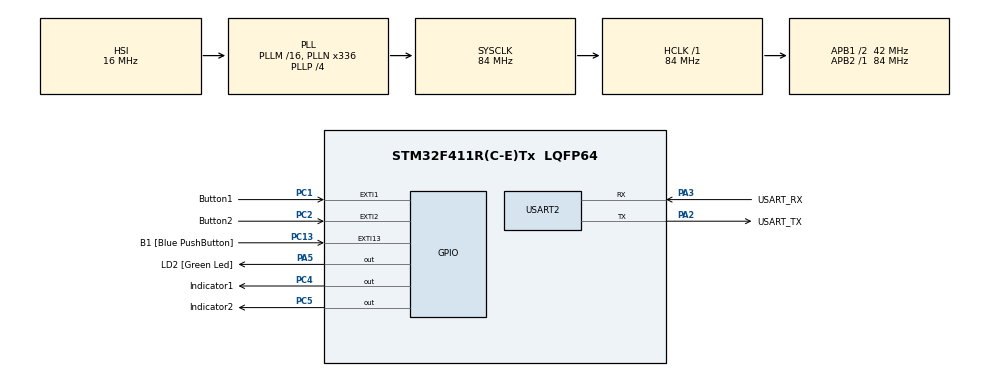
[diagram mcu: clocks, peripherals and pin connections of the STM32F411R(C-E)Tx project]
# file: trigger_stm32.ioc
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Dma.Request0=USART2_RX
Dma.USART2_RX.0.Direction=DMA_PERIPH_TO_MEMORY
Dma.USART2_RX.0.FIFOMode=DMA_FIFOMODE_DISABLE
Dma.USART2_RX.0.Instance=DMA1_Stream5
Dma.USART2_RX.0.MemDataAlignment=DMA_MDATAALIGN_BYTE
Dma.USART2_RX.0.MemInc=DMA_MINC_ENABLE
Dma.USART2_RX.0.Mode=DMA_CIRCULAR
Dma.USART2_RX.0.PeriphDataAlignment=DMA_PDATAALIGN_BYTE
Dma.USART2_RX.0.PeriphInc=DMA_PINC_DISABLE
Dma.USART2_RX.0.Priority=DMA_PRIORITY_LOW
Mcu.Family=STM32F4
Mcu.Name=STM32F411R(C-E)Tx
Mcu.Package=LQFP64
NVIC.DMA1_Stream5_IRQn=true\:0\:0\:false\:false\:true\:false\:true\:true
NVIC.EXTI1_IRQn=true\:0\:0\:false\:false\:true\:true\:true\:true
NVIC.EXTI2_IRQn=true\:0\:0\:false\:false\:true\:true\:true\:true
NVIC.PriorityGroup=NVIC_PRIORITYGROUP_0
NVIC.USART2_IRQn=true\:0\:0\:false\:false\:true\:true\:true\:true
PA13.GPIO_Label=TMS
PA13.Mode=Serial_Wire
PA13.Signal=SYS_JTMS-SWDIO
PA14.GPIO_Label=TCK
PA14.Mode=Serial_Wire
PA14.Signal=SYS_JTCK-SWCLK
PA2.GPIO_Label=USART_TX
PA2.Mode=Asynchronous
PA2.Signal=USART2_TX
PA3.GPIO_Label=USART_RX
PA3.Mode=Asynchronous
PA3.Signal=USART2_RX
PA5.GPIO_Label=LD2 [Green Led]
PA5.Signal=GPIO_Output
PB3.GPIO_Label=SWO
PB3.Signal=SYS_JTDO-SWO
PC1.GPIO_Label=Button1
PC1.GPIO_ModeDefaultEXTI=GPIO_MODE_IT_FALLING
PC1.Signal=GPXTI1
PC13-ANTI_TAMP.GPIO_Label=B1 [Blue PushButton]
PC13-ANTI_TAMP.GPIO_ModeDefaultEXTI=GPIO_MODE_IT_FALLING
PC13-ANTI_TAMP.Signal=GPXTI13
PC14-OSC32_IN.Mode=LSE-External-Oscillator
PC14-OSC32_IN.Signal=RCC_OSC32_IN
PC15-OSC32_OUT.Mode=LSE-External-Oscillator
PC15-OSC32_OUT.Signal=RCC_OSC32_OUT
PC2.GPIO_Label=Button2
PC2.GPIO_ModeDefaultEXTI=GPIO_MODE_IT_FALLING
PC2.Signal=GPXTI2
PC4.GPIO_Label=Indicator1
PC4.PinState=GPIO_PIN_SET
PC4.Signal=GPIO_Output
PC5.GPIO_Label=Indicator2
PC5.Signal=GPIO_Output
PH0\ -\ OSC_IN.Mode=HSE-External-Clock-Source
PH0\ -\ OSC_IN.Signal=RCC_OSC_IN
PH1\ -\ OSC_OUT.Mode=HSE-External-Clock-Source
PH1\ -\ OSC_OUT.Signal=RCC_OSC_OUT
ProjectManager.HeapSize=0x200
ProjectManager.StackSize=0x400
ProjectManager.TargetToolchain=STM32CubeIDE
RCC.48MHZClocksFreq_Value=84000000
RCC.AHBFreq_Value=84000000
RCC.APB1CLKDivider=RCC_HCLK_DIV2
RCC.APB1Freq_Value=42000000
RCC.APB1TimFreq_Value=84000000
RCC.APB2Freq_Value=84000000
RCC.APB2TimFreq_Value=84000000
RCC.CortexFreq_Value=84000000
RCC.FLatency-AdvancedSettings=FLASH_LATENCY_2
RCC.HCLKFreq_Value=84000000
RCC.HSE_VALUE=8000000
RCC.HSI_VALUE=16000000
RCC.PLLN=336
RCC.PLLP=RCC_PLLP_DIV4
RCC.SYSCLKFreq_VALUE=84000000
RCC.SYSCLKSource=RCC_SYSCLKSOURCE_PLLCLK
RCC.VCOOutputFreq_Value=336000000
USART2.VirtualMode=VM_ASYNC
board=NUCLEO-F411RE

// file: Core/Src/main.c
/* USER CODE BEGIN Header */
/**
  ******************************************************************************
  * @file           : main.c
  * @brief          : Main program body
  ******************************************************************************
  * @attention
  *
  * Copyright (c) 2022 STMicroelectronics.
  * All rights reserved.
  *
  * This software is licensed under terms that can be found in the LICENSE file
  * in the root directory of this software component.
  * If no LICENSE file comes with this software, it is provided AS-IS.
  *
  ******************************************************************************
  */
/* USER CODE END Header */
#include "main.h"
#include "dma.h"
#include "usart.h"
#include "gpio.h"

void SystemClock_Config(void);

/* USER CODE BEGIN 0 */
uint8_t indicatorIsOk = 1;

//serial msg
uint8_t msg[2];

/* USER CODE END 0 */

int main(void)
{

  /* MCU Configuration--------------------------------------------------------*/

  /* Reset of all peripherals, Initializes the Flash interface and the Systick. */
  HAL_Init();

  /* Configure the system clock */
  SystemClock_Config();

  /* Initialize all configured peripherals */
  MX_GPIO_Init();
  MX_DMA_Init();
  MX_USART2_UART_Init();
  /* USER CODE BEGIN 2 */
  HAL_UART_Receive_DMA(&huart2, msg, sizeof(msg));
  /* USER CODE END 2 */

  /* Infinite loop */
  while (1)
  {
  }
}

void SystemClock_Config(void)
{
  RCC_OscInitTypeDef RCC_OscInitStruct = {0};
  RCC_ClkInitTypeDef RCC_ClkInitStruct = {0};

  /** Configure the main internal regulator output voltage
  */
  __HAL_RCC_PWR_CLK_ENABLE();
  __HAL_PWR_VOLTAGESCALING_CONFIG(PWR_REGULATOR_VOLTAGE_SCALE1);

  /** Initializes the RCC Oscillators according to the specified parameters
  * in the RCC_OscInitTypeDef structure.
  */
  RCC_OscInitStruct.OscillatorType = RCC_OSCILLATORTYPE_HSI;
  RCC_OscInitStruct.HSIState = RCC_HSI_ON;
  RCC_OscInitStruct.HSICalibrationValue = RCC_HSICALIBRATION_DEFAULT;
  RCC_OscInitStruct.PLL.PLLState = RCC_PLL_ON;
  RCC_OscInitStruct.PLL.PLLSource = RCC_PLLSOURCE_HSI;
  RCC_OscInitStruct.PLL.PLLM = 16;
  RCC_OscInitStruct.PLL.PLLN = 336;
  RCC_OscInitStruct.PLL.PLLP = RCC_PLLP_DIV4;
  RCC_OscInitStruct.PLL.PLLQ = 4;
  if (HAL_RCC_OscConfig(&RCC_OscInitStruct) != HAL_OK)
  {
    Error_Handler();
  }

  /** Initializes the CPU, AHB and APB buses clocks
  */
  RCC_ClkInitStruct.ClockType = RCC_CLOCKTYPE_HCLK|RCC_CLOCKTYPE_SYSCLK
                              |RCC_CLOCKTYPE_PCLK1|RCC_CLOCKTYPE_PCLK2;
  RCC_ClkInitStruct.SYSCLKSource = RCC_SYSCLKSOURCE_PLLCLK;
  RCC_ClkInitStruct.AHBCLKDivider = RCC_SYSCLK_DIV1;
  RCC_ClkInitStruct.APB1CLKDivider = RCC_HCLK_DIV2;
  RCC_ClkInitStruct.APB2CLKDivider = RCC_HCLK_DIV1;

  if (HAL_RCC_ClockConfig(&RCC_ClkInitStruct, FLASH_LATENCY_2) != HAL_OK)
  {
    Error_Handler();
  }
}

/* USER CODE BEGIN 4 */
void update_indicator(uint8_t state){
	if (indicatorIsOk != state){
		indicatorIsOk = state;

		if (state==0){
			//Write 1 low, 2 high
			HAL_GPIO_WritePin(Indicator1_GPIO_Port, Indicator1_Pin, GPIO_PIN_RESET);
			HAL_GPIO_WritePin(Indicator2_GPIO_Port, Indicator2_Pin, GPIO_PIN_SET);
		}
		if (state==1){
			//Write 1 high, 2 low
			HAL_GPIO_WritePin(Indicator1_GPIO_Port, Indicator1_Pin, GPIO_PIN_SET);
			HAL_GPIO_WritePin(Indicator2_GPIO_Port, Indicator2_Pin, GPIO_PIN_RESET);
		}
	}
}

void HAL_UART_RxCpltCallback(UART_HandleTypeDef *huart)
{
  /* Prevent unused argument(s) compilation warning */
  UNUSED(huart);
  /* NOTE: This function should not be modified, when the callback is needed,
           the HAL_UART_RxCpltCallback could be implemented in the user file
   */
  // if serial available. then read msg (lowercase and trim)
//  msg.toLowerCase();
//  msg.trim();
  uint8_t ok[2] = "ok";
  uint8_t ng[2] = "ng";

  if (msg==ok){
	  //if msg "ok", update indicator 1
	  update_indicator(1);
  }
  else if (msg==ng){
	  //if msg "ng", update indicator 0
	  update_indicator(0);
  }
}
/* USER CODE END 4 */

void Error_Handler(void)
{
  __disable_irq();
  while (1)
  {
  }
}
